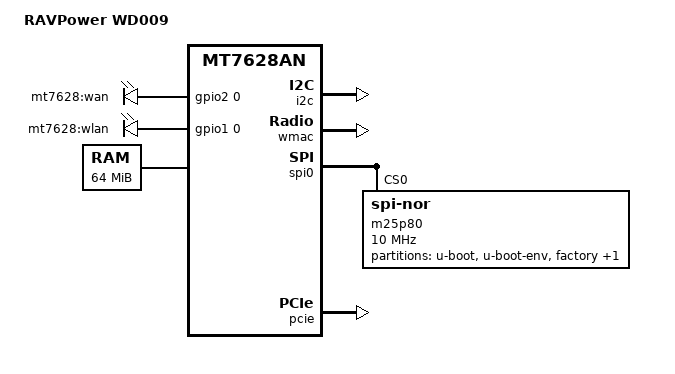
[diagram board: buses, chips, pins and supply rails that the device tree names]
/dts-v1/;

#include "mt7628an.dtsi"

#include <dt-bindings/gpio/gpio.h>
#include <dt-bindings/input/input.h>

/ {
	compatible = "ravpower,wd009", "mediatek,mt7628an-soc";
	model = "RAVPower WD009";
	
        leds {
               compatible = "gpio-leds";

               wan {
                       label = "mt7628:wan";
                       gpios = <&gpio2 0 GPIO_ACTIVE_HIGH>;
               };

               wlan {
                       label = "mt7628:wlan";
                       gpios = <&gpio1 0 GPIO_ACTIVE_HIGH>;
               };

	};
	
	memory@0 {
		device_type = "memory";
		reg = <0x0 0x4000000>;
	};
};

&pinctrl {
	state_default: pinctrl0 {
		gpio {
			ralink,group = "i2c";
			ralink,function = "gpio";
		};
	};
};

&gpio2 {
        status = "okay";
};

&gpio1 {
        status = "okay";
};

&i2c {
        status = "okay";
};


&wmac {
	status = "okay";
};

&spi0 {
	status = "okay";

	m25p80@0 {
		compatible = "jedec,spi-nor";
		reg = <0>;
		spi-max-frequency = <10000000>;

		partitions {
			compatible = "fixed-partitions";
			#address-cells = <1>;
			#size-cells = <1>;

			partition@0 {
				label = "u-boot";
				reg = <0x0 0x30000>;
				read-only;
			};

			partition@30000 {
				label = "u-boot-env";
				reg = <0x30000 0x10000>;
				read-only;
			};

			factory: partition@40000 {
				label = "factory";
				reg = <0x40000 0x10000>;
				read-only;
			};

			partition@50000 {
				compatible = "denx,uimage";
				label = "firmware";
				reg = <0x50000 0x7b0000>;
			};
		};
	};
};

&pcie {
        status = "okay";
};

&pcie0 {
        mt76@0,0 {
                reg = <0x0000 0 0 0 0>;
                mediatek,mtd-eeprom = <&factory 0x8000>;
                ieee80211-freq-limit = <5000000 6000000>;
        };
};

&wmac {
	status = "okay";
};
